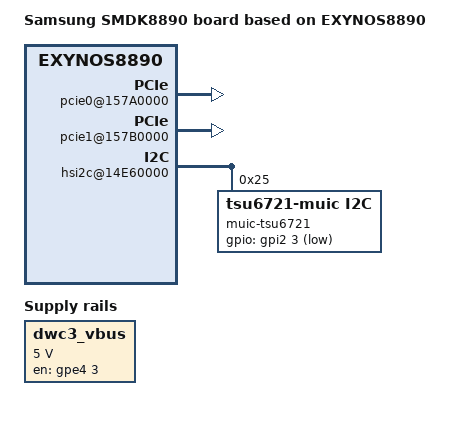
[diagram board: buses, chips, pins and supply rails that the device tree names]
/*
 * SAMSUNG EXYNOS8890 board device tree source
 *
 * Copyright (c) 2013 Samsung Electronics Co., Ltd.
 *		http://www.samsung.com
 *
 * This program is free software; you can redistribute it and/or modify
 * it under the terms of the GNU General Public License version 2 as
 * published by the Free Software Foundation.
*/

/dts-v1/;
#include "exynos8890-board-common.dtsi"

/ {
	model = "Samsung SMDK8890 board based on EXYNOS8890";
	compatible = "samsung,exynos8890", "samsung,SMDK8890";

	ect {
		parameter_address = <0x90000000>;
		parameter_size = <0x19000>;
	};

	pinctrl@10580000 {
		muic_irq: muic-irq {
			samsung,pins = "gpa1-1";
			samsung,pin-function = <0x0>;
			samsung,pin-pud = <0>;
			samsung,pin-drv = <0>;
		};
	};

	pinctrl@14CC0000 {
		dwc3_vbus_en: dwc3-vbus-en {
		    samsung,pins ="gpe4-3";
		    samsung,pin-function = <1>;
		    samsung,pin-pud = <0>;
		    samsung,pin-drv = <0>;
	    };
	};

	pcie0@157A0000 {
		pcie,wlan-gpio = <&gpj1 3 0x1 /* WLAN_EN */ >;
		pcie,bt-gpio = <&gpe7 1 0x1 /* BT_EN */ >;
		status = "okay";
	};

	pcie1@157B0000 {
		pcie,wlan-gpio = <&gpf1 2 0x1 /* WLAN_EN */ >;
		pcie,bt-gpio = <&gpe7 2 0x1 /* BT_EN */ >;
		status = "okay";
	};

	hsi2c@14E60000 {
		status = "okay";
		muic-tsu6721@25 {
			compatible = "tsu6721-muic,i2c";
			reg = <0x25>;
			pinctrl-names = "default";
			pinctrl-0 = <&muic_irq>;
			muic,muic_int = <&gpa1 1 0>;
			gpios = <&gpi2 3 0x1>;
		};
	};

	dwc3_vbus: regulator-usb300 {
		compatible = "regulator-fixed";
		regulator-name = "UHOST_VBUS_EN";
		regulator-min-microvolt = <5000000>;
		regulator-max-microvolt = <5000000>;
		gpio = <&gpe4 3 1>;
		pinctrl-names = "default";
		pinctrl-0 = <&dwc3_vbus_en>;
		enable-active-high;
	};

	usb@15400000 {
		dwc3-vbus-supply = <&dwc3_vbus>;
	};
};
